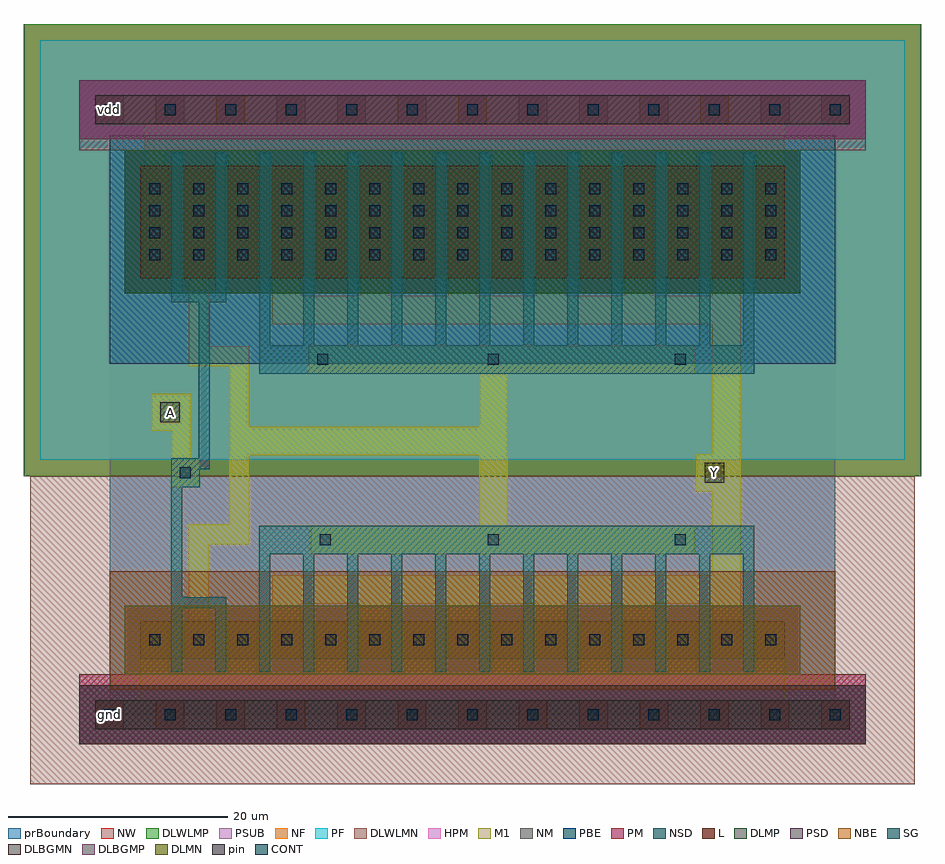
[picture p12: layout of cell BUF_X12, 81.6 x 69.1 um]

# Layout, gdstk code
import gdstk
lib = gdstk.Library(unit=1e-6, precision=1e-09)
def R(c, l, rs):  # rectangles x0, y0, x1, y1
    for r in rs: c.add(gdstk.rectangle(r[:2], r[2:], *l))
def A(c, l, x, y, w, h, nx, ny, dx, dy):  # array of equal rectangles
    R(c, l, [(x+i*dx, y+j*dy, x+i*dx+w, y+j*dy+h) for i in range(nx) for j in range(ny)])
def P(c, l, *ps):  # polygons
    for p in ps: c.add(gdstk.Polygon(p, *l))
L = (3, 0)
NM = (7, 0)
SG = (8, 0)
PSD = (9, 0)
CONT = (11, 0)
M1 = (13, 0)
NF = (25, 0)
PF = (26, 0)
NSD = (28, 0)
HPM = (33, 0)
PM = (35, 0)
NW = (36, 0)
pin = (48, 1)
PSUB = (140, 0)
PBE = (146, 0)
NBE = (147, 0)
DLWLMP = (150, 0)
DLWLMN = (151, 0)
DLMP = (157, 0)
DLMN = (158, 0)
DLBGMP = (177, 0)
DLBGMN = (178, 0)
prBoundary = (235, 0)

buf_x12 = lib.new_cell('BUF_X12')
A(buf_x12, L, -1.3, -1.3, 2.6, 2.6, 13, 2, 5.5, 55)
R(buf_x12, L, [(2.8,5.1,61.4,8.5), (2.8,39.7,61.4,49.9)])
R(buf_x12, NM, [(-2.75,-2.7,68.75,2.7)])
P(buf_x12, NM, [(1.4,38.3),(1.4,51.3),(-2.75,51.3),(-2.75,57.7),(68.75,57.7),(68.75,51.3),(62.8,51.3),(62.8,38.3)])
P(buf_x12, SG, [(13.6,3.9),(13.6,17.2),(58.6,17.2),(58.6,3.9),(57.6,3.9),(57.6,14.6),(54.6,14.6),(54.6,3.9),(53.6,3.9),(53.6,14.6),(50.6,14.6),(50.6,3.9),(49.6,3.9),(49.6,14.6),(46.6,14.6),(46.6,3.9),(45.6,3.9),(45.6,14.6),(42.6,14.6),(42.6,3.9),(41.6,3.9),(41.6,14.6),(38.6,14.6),(38.6,3.9),(37.6,3.9),(37.6,14.6),(34.6,14.6),(34.6,3.9),(33.6,3.9),(33.6,14.6),(30.6,14.6),(30.6,3.9),(29.6,3.9),(29.6,14.6),(26.6,14.6),(26.6,3.9),(25.6,3.9),(25.6,14.6),(22.6,14.6),(22.6,3.9),(21.6,3.9),(21.6,14.6),(18.6,14.6),(18.6,3.9),(17.6,3.9),(17.6,14.6),(14.6,14.6),(14.6,3.9)],
  [(5.6,3.9),(5.6,23.3),(8.1,23.3),(8.1,37.5),(5.6,37.5),(5.6,51.1),(6.6,51.1),(6.6,38.5),(9.6,38.5),(9.6,51.1),(10.6,51.1),(10.6,37.5),(9.1,37.5),(9.1,22.3),(8.2,22.3),(8.2,20.7),(6.6,20.7),(6.6,10.7),(10.6,10.7),(10.6,3.9),(9.6,3.9),(9.6,9.7),(6.6,9.7),(6.6,3.9)],
  [(13.6,31),(13.6,51.1),(14.6,51.1),(14.6,33.6),(17.6,33.6),(17.6,51.1),(18.6,51.1),(18.6,33.6),(21.6,33.6),(21.6,51.1),(22.6,51.1),(22.6,33.6),(25.6,33.6),(25.6,51.1),(26.6,51.1),(26.6,33.6),(29.6,33.6),(29.6,51.1),(30.6,51.1),(30.6,33.6),(33.6,33.6),(33.6,51.1),(34.6,51.1),(34.6,33.6),(37.6,33.6),(37.6,51.1),(38.6,51.1),(38.6,33.6),(41.6,33.6),(41.6,51.1),(42.6,51.1),(42.6,33.6),(45.6,33.6),(45.6,51.1),(46.6,51.1),(46.6,33.6),(49.6,33.6),(49.6,51.1),(50.6,51.1),(50.6,33.6),(53.6,33.6),(53.6,51.1),(54.6,51.1),(54.6,33.6),(57.6,33.6),(57.6,51.1),(58.6,51.1),(58.6,31)])
R(buf_x12, PSD, [(1.4,3.7,62.8,9.9), (-2.75,52.3,68.75,57.7)])
A(buf_x12, CONT, -0.5, -0.5, 1, 1, 13, 2, 5.5, 55)
A(buf_x12, CONT, 3.6, 6.3, 1, 1, 3, 2, 4, 35)
A(buf_x12, CONT, 11.6, 6.3, 1, 1, 13, 2, 4, 35)
A(buf_x12, CONT, 3.6, 43.3, 1, 1, 3, 3, 4, 2)
A(buf_x12, CONT, 11.6, 43.3, 1, 1, 13, 3, 4, 2)
R(buf_x12, CONT, [(19.1,15.4,20.1,16.4), (34.4,15.4,35.4,16.4), (51.4,15.4,52.4,16.4), (6.4,21.5,7.4,22.5), (18.9,31.8,19.9,32.8), (34.4,31.8,35.4,32.8), (51.4,31.8,52.4,32.8)])
P(buf_x12, M1, [(-1.3,-1.3),(-1.3,1.3),(2.8,1.3),(2.8,8.5),(5.4,8.5),(5.4,3.7),(10.8,3.7),(10.8,8.5),(13.4,8.5),(13.4,3.7),(18.8,3.7),(18.8,8.5),(21.4,8.5),(21.4,3.7),(26.8,3.7),(26.8,8.5),(29.4,8.5),(29.4,3.7),(34.8,3.7),(34.8,8.5),(37.4,8.5),(37.4,3.7),(42.8,3.7),(42.8,8.5),(45.4,8.5),(45.4,3.7),(50.8,3.7),(50.8,8.5),(53.4,8.5),(53.4,3.7),(58.8,3.7),(58.8,8.5),(61.4,8.5),(61.4,1.3),(67.3,1.3),(67.3,-1.3)],
  [(5.6,20.7),(5.6,25.8),(3.8,25.8),(3.8,29.2),(7.4,29.2),(7.4,23.3),(8.2,23.3),(8.2,20.7)],
  [(6.8,5.1),(6.8,8.5),(7.2,8.5),(7.2,17.3),(10.9,17.3),(10.9,31.7),(7.2,31.7),(7.2,39.7),(6.8,39.7),(6.8,49.9),(9.4,49.9),(9.4,39.7),(9,39.7),(9,33.5),(12.7,33.5),(12.7,26.2),(33.6,26.2),(33.6,31),(18.1,31),(18.1,33.6),(53.2,33.6),(53.2,31),(36.2,31),(36.2,17.2),(53.2,17.2),(53.2,14.6),(18.3,14.6),(18.3,17.2),(33.6,17.2),(33.6,23.6),(12.7,23.6),(12.7,15.5),(9,15.5),(9,8.5),(9.4,8.5),(9.4,5.1)],
  [(14.8,5.1),(14.8,12.7),(54.8,12.7),(54.8,20.3),(53.3,20.3),(53.3,23.7),(54.8,23.7),(54.8,35.5),(14.8,35.5),(14.8,49.9),(17.4,49.9),(17.4,38.1),(22.8,38.1),(22.8,49.9),(25.4,49.9),(25.4,38.1),(30.8,38.1),(30.8,49.9),(33.4,49.9),(33.4,38.1),(38.8,38.1),(38.8,49.9),(41.4,49.9),(41.4,38.1),(46.8,38.1),(46.8,49.9),(49.4,49.9),(49.4,38.1),(54.8,38.1),(54.8,49.9),(57.4,49.9),(57.4,5.1),(54.8,5.1),(54.8,10.1),(49.4,10.1),(49.4,5.1),(46.8,5.1),(46.8,10.1),(41.4,10.1),(41.4,5.1),(38.8,5.1),(38.8,10.1),(33.4,10.1),(33.4,5.1),(30.8,5.1),(30.8,10.1),(25.4,10.1),(25.4,5.1),(22.8,5.1),(22.8,10.1),(17.4,10.1),(17.4,5.1)],
  [(2.8,39.7),(2.8,49.9),(3.2,49.9),(3.2,53.7),(-1.3,53.7),(-1.3,56.3),(67.3,56.3),(67.3,53.7),(61.4,53.7),(61.4,39.7),(58.8,39.7),(58.8,51.3),(53.4,51.3),(53.4,39.7),(50.8,39.7),(50.8,51.3),(45.4,51.3),(45.4,39.7),(42.8,39.7),(42.8,51.3),(37.4,51.3),(37.4,39.7),(34.8,39.7),(34.8,51.3),(29.4,51.3),(29.4,39.7),(26.8,39.7),(26.8,51.3),(21.4,51.3),(21.4,39.7),(18.8,39.7),(18.8,51.3),(13.4,51.3),(13.4,39.7),(10.8,39.7),(10.8,51.3),(5,51.3),(5,49.9),(5.4,49.9),(5.4,39.7)])
R(buf_x12, NF, [(-6.3,23.2,72.3,61.3)])
R(buf_x12, PF, [(-6.3,23.2,72.3,61.3)])
R(buf_x12, NSD, [(-2.75,-2.7,68.75,2.7), (1.4,38.3,62.8,51.3)])
P(buf_x12, HPM, [(-2.75,-2.7),(-2.75,3.7),(1.4,3.7),(1.4,9.9),(62.8,9.9),(62.8,3.7),(68.75,3.7),(68.75,-2.7)],
  [(1.4,38.3),(1.4,51.3),(-2.75,51.3),(-2.75,57.7),(68.75,57.7),(68.75,51.3),(62.8,51.3),(62.8,38.3)])
R(buf_x12, PM, [(-2.75,52.3,68.75,57.7)])
P(buf_x12, PM, [(-2.75,-2.7),(-2.75,3.7),(1.4,3.7),(1.4,9.9),(62.8,9.9),(62.8,3.7),(68.75,3.7),(68.75,-2.7)])
R(buf_x12, NW, [(-7.8,21.7,73.8,62.8)])
R(buf_x12, pin, [(-1.3,-1.3,67.3,1.3), (54.1,21.1,55.9,22.9), (4.6,26.6,6.4,28.4), (4.6,26.6,6.4,28.4), (-1.3,53.7,67.3,56.3)])
R(buf_x12, PSUB, [(-6.3,23.2,72.3,61.3)])
R(buf_x12, PBE, [(0,31.9,66,52.7)])
R(buf_x12, NBE, [(0,2.25,66,13.05)])
R(buf_x12, DLWLMP, [(-7.8,21.7,73.8,62.8)])
R(buf_x12, DLWLMN, [(-7.2,-6.3,73.2,21.7)])
R(buf_x12, DLMP, [(1.4,38.3,62.8,51.3)])
R(buf_x12, DLMN, [(1.4,3.7,62.8,9.9)])
R(buf_x12, DLBGMP, [(-2.75,52.3,68.75,57.7)])
R(buf_x12, DLBGMN, [(-2.75,-2.7,68.75,2.7)])
R(buf_x12, prBoundary, [(0,0,66,55)])
buf_x12.add(gdstk.Label('vdd', (0,55), layer=48, texttype=0))
buf_x12.add(gdstk.Label('gnd', (0,0), layer=48, texttype=0))
buf_x12.add(gdstk.Label('Y', (55,22), layer=48, texttype=0))
buf_x12.add(gdstk.Label('A', (5.5,27.5), layer=48, texttype=0))
buf_x12.add(gdstk.Label('A', (5.5,27.5), layer=48, texttype=0))

lib.write_gds('BUF_X12.gds')
